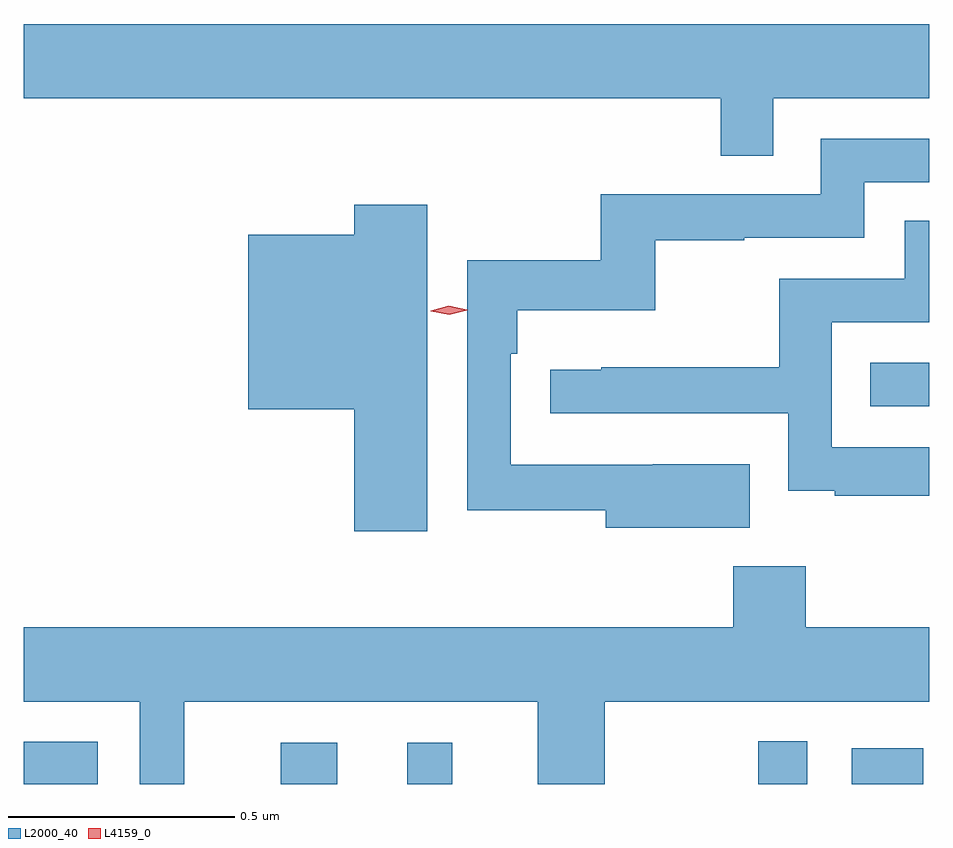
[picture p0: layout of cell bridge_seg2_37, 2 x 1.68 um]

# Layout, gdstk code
import gdstk
lib = gdstk.Library(unit=1e-6, precision=1e-09)
def R(c, l, rs):  # rectangles x0, y0, x1, y1
    for r in rs: c.add(gdstk.rectangle(r[:2], r[2:], *l))
def P(c, l, *ps):  # polygons
    for p in ps: c.add(gdstk.Polygon(p, *l))
L2000_40 = (2000, 40)
L4159_0 = (4159, 0)

bridge_seg2_37 = lib.new_cell('bridge_seg2_37')
R(bridge_seg2_37, L2000_40, [(1117.228,627.474,1117.392,627.567), (1117.796,627.474,1117.92,627.565), (1118.075,627.474,1118.174,627.565), (1118.85,627.474,1118.958,627.568), (1119.056,627.474,1119.214,627.553), (1119.097,628.308,1119.228,628.404)])
P(bridge_seg2_37, L2000_40, [(1118.883,628.988),(1119.228,628.988),(1119.228,629.152),(1117.228,629.152),(1117.228,628.988),(1118.767,628.988),(1118.767,628.861),(1118.883,628.861)],
  [(1118.831,628.18),(1118.617,628.18),(1118.617,628.179),(1118.304,628.179),(1118.304,628.424),(1118.318,628.424),(1118.318,628.52),(1118.623,628.52),(1118.623,628.675),(1118.819,628.675),(1118.819,628.68),(1119.084,628.68),(1119.084,628.803),(1119.228,628.803),(1119.228,628.899),(1118.988,628.899),(1118.988,628.776),(1118.502,628.776),(1118.502,628.63),(1118.208,628.63),(1118.208,628.078),(1118.513,628.078),(1118.513,628.04),(1118.831,628.04)],
  [(1118.119,628.753),(1117.958,628.753),(1117.958,628.687),(1117.724,628.687),(1117.724,628.301),(1117.958,628.301),(1117.958,628.032),(1118.119,628.032)],
  [(1119.228,628.218),(1119.012,628.218),(1119.012,628.494),(1119.228,628.494),(1119.228,628.718),(1119.173,628.718),(1119.173,628.59),(1118.896,628.59),(1118.896,628.394),(1118.503,628.394),(1118.503,628.389),(1118.391,628.389),(1118.391,628.293),(1118.916,628.293),(1118.916,628.121),(1119.019,628.121),(1119.019,628.11),(1119.228,628.11)],
  [(1117.583,627.656),(1118.363,627.656),(1118.363,627.474),(1118.511,627.474),(1118.511,627.656),(1119.228,627.656),(1119.228,627.82),(1118.955,627.82),(1118.955,627.955),(1118.795,627.955),(1118.795,627.82),(1117.228,627.82),(1117.228,627.656),(1117.485,627.656),(1117.485,627.474),(1117.583,627.474)])
P(bridge_seg2_37, L4159_0, [(1118.168,628.51),(1118.127,628.518),(1118.127,628.519),(1118.127,628.519),(1118.167,628.53),(1118.208,628.521),(1118.209,628.521),(1118.208,628.52)])

lib.write_gds('bridge_seg2_37.gds')
